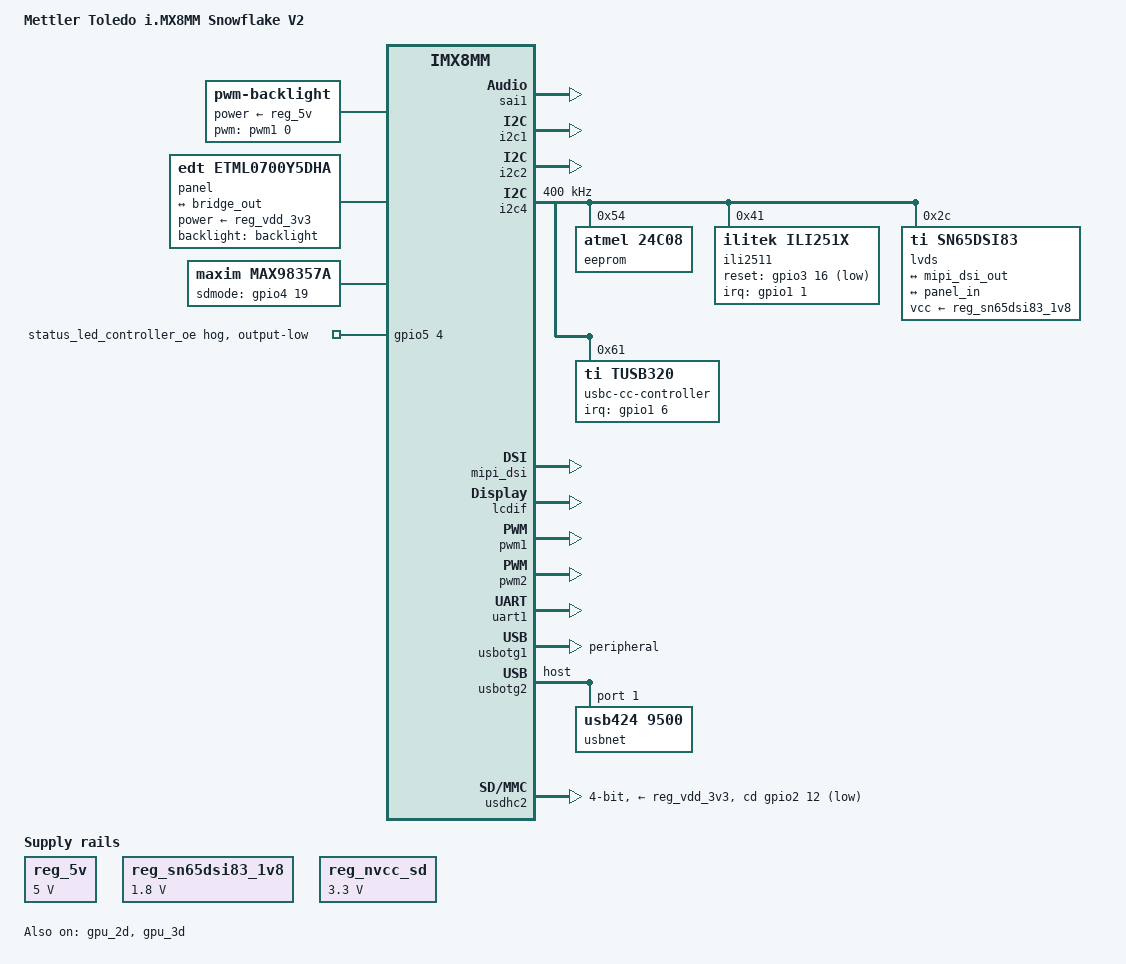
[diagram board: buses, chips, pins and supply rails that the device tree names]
// SPDX-License-Identifier: GPL-2.0
/*
 * Copyright (C) 2023 Mettler-Toledo GmbH
 */

/dts-v1/;

#include "imx8mm-kontron-sl.dtsi"

/ {
	model = "Mettler Toledo i.MX8MM Snowflake V2";
	compatible = "mt,imx8mm-snowflake-v2", "kontron,imx8mm-sl",
		     "fsl,imx8mm";

	chosen {
		stdout-path = &uart3;
	};

	aliases {
		ethernet1 = &usbnet;
	};

	backlight: backlight {
		compatible = "pwm-backlight";
		pwms = <&pwm1 0 500000 0>;
		power-supply = <&reg_5v>;
		brightness-levels = <0 100>;
		num-interpolated-steps = <100>;
		default-brightness-level = <100>;
		status = "okay";
	};

	panel {
		compatible = "edt,etml0700y5dha";
		backlight = <&backlight>;
		power-supply = <&reg_vdd_3v3>;

		port {
			panel_in: endpoint {
				remote-endpoint = <&bridge_out>;
			};
		};
	};

	max98357a: audio-codec {
		compatible = "maxim,max98357a";
		sdmode-gpios = <&gpio4 19 GPIO_ACTIVE_HIGH>;
		#sound-dai-cells = <0>;
		status = "okay";
	};

	reg_5v: regulator-5v {
		compatible = "regulator-fixed";
		regulator-name = "fixed-5V";
		regulator-min-microvolt = <5000000>;
		regulator-max-microvolt = <5000000>;
	};

	reg_sn65dsi83_1v8: regulator-sn65dsi83-1v8 {
		compatible = "regulator-fixed";
		regulator-name = "SN65DSI83_1V8";
		regulator-min-microvolt = <1800000>;
		regulator-max-microvolt = <1800000>;
	};

	sound-max98357a {
		compatible = "simple-audio-card";
		simple-audio-card,name = "max98357a-audio";

		simple-audio-card,format = "i2s";
		simple-audio-card,frame-master = <&cpudai>;
		simple-audio-card,bitclock-master = <&cpudai>;
		simple-audio-card,widgets =
			"Speaker", "Speakers";
		simple-audio-card,routing =
			"Speakers", "Speaker";
		status = "okay";

		cpudai: simple-audio-card,cpu {
			sound-dai = <&sai1>;
			dai-tdm-slot-num = <2>;
			dai-tdm-slot-width = <32>;
		};

		simple-audio-card,codec {
			sound-dai = <&max98357a>;
			clocks = <&clk IMX8MM_CLK_SAI1_ROOT>;
		};
	};
};

&sai1 {
	#sound-dai-cells = <0>;
	pinctrl-names = "default";
	pinctrl-0 = <&pinctrl_sai1>;
	assigned-clocks = <&clk IMX8MM_CLK_SAI1>;
	assigned-clock-parents = <&clk IMX8MM_AUDIO_PLL1_OUT>;
	assigned-clock-rates = <24576000>;
	fsl,sai-mclk-direction-output;
	status = "okay";
};

&i2c1 {
	bootph-all;
	status = "okay";
};

&i2c2 {
	bootph-all;
	status = "okay";
};

&i2c4 {
	clock-frequency = <400000>;
	pinctrl-names = "default";
	pinctrl-0 = <&pinctrl_i2c4>;
	status = "okay";

	eeprom: eeprom@54 {
		compatible = "atmel,24c08";
		reg = <0x54>;
		pagesize = <16>;
	};

	ili2511: ili2511@41 {
		compatible = "ilitek,ili251x";
		reg = <0x41>;
		pinctrl-names = "default";
		pinctrl-0 = <&pinctrl_touch>;
		interrupt-parent = <&gpio1>;
		interrupts = <1 IRQ_TYPE_EDGE_FALLING>;
		reset-gpios = <&gpio3 16 GPIO_ACTIVE_LOW>;
	};

	lvds: lvds@2c {
		compatible = "ti,sn65dsi83";
		reg = <0x2c>;
		vcc-supply = <&reg_sn65dsi83_1v8>;
		pinctrl-names = "default";
		pinctrl-0 = <&pinctrl_sn65dsi83>;
		status = "okay";
		ports {
			#address-cells = <1>;
			#size-cells = <0>;

			port@0 {
				reg = <0>;
				bridge_in: endpoint {
					remote-endpoint = <&mipi_dsi_out>;
					data-lanes = <1 2>;
				};
			};

			port@2 {
				reg = <2>;
				bridge_out: endpoint {
					remote-endpoint = <&panel_in>;
					data-lanes = <4 3 2 1>;
				};
			};
		};
	};

	usbc-cc-controller@61 {
		compatible = "ti,tusb320";
		reg = <0x61>;
		pinctrl-names = "default";
		pinctrl-0 = <&pinctrl_usbc_controller>;
		interrupts-extended = <&gpio1 6 IRQ_TYPE_LEVEL_LOW>;
	};
};

&mipi_dsi {
	status = "okay";
	vddio-supply = <&reg_sn65dsi83_1v8>;
	assigned-clocks = <&clk IMX8MM_CLK_DSI_CORE>,
			  <&clk IMX8MM_VIDEO_PLL1_OUT>,
			  <&clk IMX8MM_CLK_DSI_PHY_REF>;
	assigned-clock-parents = <&clk IMX8MM_SYS_PLL1_266M>,
			  <&clk IMX8MM_VIDEO_PLL1_BYPASS>,
			  <&clk IMX8MM_CLK_24M>;
	assigned-clock-rates = <266000000>, <594000000>, <12000000>;
	samsung,pll-clock-frequency = <12000000>;
	samsung,burst-clock-frequency = <891000000>;
	samsung,esc-clock-frequency = <54000000>;
};

&mipi_dsi_out {
	remote-endpoint = <&bridge_in>;
};

&lcdif {
	status = "okay";
};

&gpu_2d {
	status = "okay";
};

&gpu_3d {
	status = "okay";
};

&ecspi1 {
	status = "disabled";
};

&gpio1 {
	bootph-pre-ram;
};

&gpio2 {
	bootph-pre-ram;
};

&gpio3 {
	bootph-pre-ram;
};

&gpio4 {
	bootph-pre-ram;
};

&gpio5 {
	bootph-pre-ram;
	status_led_controller_oe: status-led-controller-hog {
		gpio-hog;
		gpios = <4 GPIO_ACTIVE_HIGH>;
		output-low;
		pinctrl-names = "default";
		pinctrl-0 = <&pinctrl_hog_status_led_controller>;
	};
};

&pca9450 {
	bootph-pre-ram;
};

&{/soc@0/bus@30800000/i2c@30a20000/pmic@25/regulators} {
	bootph-pre-ram;
};

&iomuxc {
	pinctrl-0 = <&pinctrl_hog>;
	pinctrl-names = "default";

	pinctrl_hog: hoggrp {
		fsl,pins = <
			MX8MM_IOMUXC_GPIO1_IO03_GPIO1_IO3		0x19 /* \SOM_RTC_INT */
			MX8MM_IOMUXC_GPIO1_IO09_GPIO1_IO9		0x184 /* SOM_DIS_ID0 */
			MX8MM_IOMUXC_GPIO1_IO10_GPIO1_IO10		0x184 /* SOM_DIS_ID1 */
			MX8MM_IOMUXC_GPIO1_IO11_GPIO1_IO11		0x184 /* SOM_DIS_ID2 */
			MX8MM_IOMUXC_SAI2_TXC_GPIO4_IO25		0x19 /* SOM_PCB_ID0 */
			MX8MM_IOMUXC_SAI2_TXD0_GPIO4_IO26		0x19 /* SOM_PCB_ID1 */
			MX8MM_IOMUXC_SAI2_MCLK_GPIO4_IO27		0x19 /* SOM_PCBA_ID0 */
			MX8MM_IOMUXC_SAI3_RXFS_GPIO4_IO28		0x19 /* SOM_PCBA_ID1 */
			MX8MM_IOMUXC_SAI5_RXFS_GPIO3_IO19		0x19 /* \SOM_STATLED_RES */
			MX8MM_IOMUXC_SAI5_RXC_GPIO3_IO20		0x19 /* \SOM_HUB_RES */
			MX8MM_IOMUXC_SAI5_RXD0_GPIO3_IO21		0x19 /* \SOM_SUPPLY_EN */
			MX8MM_IOMUXC_SAI5_RXD1_GPIO3_IO22		0x1c4 /* \SOM_COM_RES */
			MX8MM_IOMUXC_SAI5_RXD2_GPIO3_IO23		0x184 /* SOM_DBG_GPIO0 */
			MX8MM_IOMUXC_SAI5_RXD3_GPIO3_IO24		0x184 /* SOM_DBG_GPIO1 */
			MX8MM_IOMUXC_SAI5_MCLK_GPIO3_IO25		0x184 /* SOM_DBG_GPIO2 */
			MX8MM_IOMUXC_SAI3_TXD_GPIO5_IO1			0x184 /* SOM_DBG_GPIO3 */
			MX8MM_IOMUXC_SAI1_TXD7_GPIO4_IO19		0x184 /* SOM_AUDIO_SD */
		>;
	};

	pinctrl_i2c4: i2c4grp {
		fsl,pins = <
			MX8MM_IOMUXC_I2C4_SCL_I2C4_SCL			0x400001c3
			MX8MM_IOMUXC_I2C4_SDA_I2C4_SDA			0x400001c3
		>;
	};

	pinctrl_pwm1: pwm1grp {
		fsl,pins = <
			MX8MM_IOMUXC_SPDIF_EXT_CLK_PWM1_OUT		0x6
		>;
	};

	pinctrl_pwm2: pwm2grp {
		fsl,pins = <
			MX8MM_IOMUXC_SPDIF_RX_PWM2_OUT			0x6
		>;
	};

	pinctrl_pwm3: pwm3grp {
		fsl,pins = <
			MX8MM_IOMUXC_SPDIF_TX_PWM3_OUT			0x6
		>;
	};

	pinctrl_sai1: sai1grp {
		fsl,pins = <
			MX8MM_IOMUXC_SAI1_TXFS_SAI1_TX_SYNC		0xd6
			MX8MM_IOMUXC_SAI1_TXC_SAI1_TX_BCLK		0xd6
			MX8MM_IOMUXC_SAI1_TXD0_SAI1_TX_DATA0		0xd6
		>;
	};

	pinctrl_sn65dsi83: sn65dsi83grp {
		fsl,pins = <
			MX8MM_IOMUXC_GPIO1_IO05_GPIO1_IO5		0x19 /* \SOM_DSI_INT */
		>;
	};

	pinctrl_hog_status_led_controller: statusledcontrollergrp {
		fsl,pins = <
			MX8MM_IOMUXC_SPDIF_RX_GPIO5_IO4			0x19
		>;
	};

	pinctrl_touch: touchgrp {
		fsl,pins = <
			MX8MM_IOMUXC_GPIO1_IO01_GPIO1_IO1		0x19 /* \SOM_TOUCH_RES */
			MX8MM_IOMUXC_NAND_READY_B_GPIO3_IO16		0x19 /* \SOM_TOUCH_INT */
		>;
	};

	pinctrl_uart1: uart1grp {
		bootph-pre-ram;
		fsl,pins = <
			MX8MM_IOMUXC_SAI2_RXC_UART1_DCE_RX		0x140
			MX8MM_IOMUXC_SAI2_RXFS_UART1_DCE_TX		0x140
			MX8MM_IOMUXC_SAI2_RXD0_UART1_DCE_RTS_B		0x140
			MX8MM_IOMUXC_SAI2_TXFS_UART1_DCE_CTS_B		0x140
		>;
	};

	pinctrl_usbc_controller: usbccontrollergrp {
		fsl,pins = <
			MX8MM_IOMUXC_GPIO1_IO06_GPIO1_IO6		0x19 /* \SOM_USBC_INT */
		>;
	};

	pinctrl_usdhc2: usdhc2grp {
		bootph-pre-ram;
		fsl,pins = <
			MX8MM_IOMUXC_SD2_CLK_USDHC2_CLK			0x190
			MX8MM_IOMUXC_SD2_CMD_USDHC2_CMD			0x1d0
			MX8MM_IOMUXC_SD2_DATA0_USDHC2_DATA0		0x1d0
			MX8MM_IOMUXC_SD2_DATA1_USDHC2_DATA1		0x1d0
			MX8MM_IOMUXC_SD2_DATA2_USDHC2_DATA2		0x1d0
			MX8MM_IOMUXC_SD2_DATA3_USDHC2_DATA3		0x1d0
			MX8MM_IOMUXC_SD2_CD_B_GPIO2_IO12		0x41
		>;
	};

	pinctrl_usdhc2_100mhz: usdhc2-100mhzgrp {
		bootph-pre-ram;
		fsl,pins = <
			MX8MM_IOMUXC_SD2_CLK_USDHC2_CLK			0x194
			MX8MM_IOMUXC_SD2_CMD_USDHC2_CMD			0x1d4
			MX8MM_IOMUXC_SD2_DATA0_USDHC2_DATA0		0x1d4
			MX8MM_IOMUXC_SD2_DATA1_USDHC2_DATA1		0x1d4
			MX8MM_IOMUXC_SD2_DATA2_USDHC2_DATA2		0x1d4
			MX8MM_IOMUXC_SD2_DATA3_USDHC2_DATA3		0x1d4
			MX8MM_IOMUXC_SD2_CD_B_GPIO2_IO12		0x41
		>;
	};

	pinctrl_usdhc2_200mhz: usdhc2-200mhzgrp {
		bootph-pre-ram;
		fsl,pins = <
			MX8MM_IOMUXC_SD2_CLK_USDHC2_CLK			0x196
			MX8MM_IOMUXC_SD2_CMD_USDHC2_CMD			0x1d6
			MX8MM_IOMUXC_SD2_DATA0_USDHC2_DATA0		0x1d6
			MX8MM_IOMUXC_SD2_DATA1_USDHC2_DATA1		0x1d6
			MX8MM_IOMUXC_SD2_DATA2_USDHC2_DATA2		0x1d6
			MX8MM_IOMUXC_SD2_DATA3_USDHC2_DATA3		0x1d6
			MX8MM_IOMUXC_SD2_CD_B_GPIO2_IO12		0x41
		>;
	};
};

&pinctrl_ecspi1 {
	bootph-pre-ram;
};

&pinctrl_i2c1 {
	bootph-pre-ram;
};

&pinctrl_pmic {
	bootph-pre-ram;
};

&pinctrl_uart3 {
	bootph-all;
};

&pinctrl_usdhc1 {
	bootph-pre-ram;
};

&pinctrl_usdhc1_100mhz {
	bootph-pre-ram;
};

&pinctrl_usdhc1_200mhz {
	bootph-pre-ram;
};

&pinctrl_wdog {
	bootph-pre-ram;
};

&pwm1 {
	pinctrl-0 = <&pinctrl_pwm1>;
	pinctrl-names = "default";
	status = "okay";
};

&pwm2 {
	pinctrl-0 = <&pinctrl_pwm2>;
	pinctrl-names = "default";
	status = "okay";
};

&reg_nvcc_sd {
	regulator-always-on;
	regulator-boot-on;
	regulator-min-microvolt = <3300000>;
};

&uart1 {
	bootph-all;
	pinctrl-0 = <&pinctrl_uart1>;
	pinctrl-names = "default";
	uart-has-rtscts;
	status = "okay";
};

&uart3 {
	bootph-all;
};

&usbotg1 {
	bootph-pre-ram;
	dr_mode = "peripheral";
	status = "okay";
};

&usbotg2 {
	#address-cells = <1>;
	#size-cells = <0>;
	disable-over-current;
	dr_mode = "host";
	status = "okay";

	usb1@1 {
		reg = <1>;
		#address-cells = <1>;
		#size-cells = <0>;

		usbnet: ethernet@1 {
			compatible = "usb424,9500";
			reg = <1>;
			mac-address = [ 00 00 00 00 00 00 ];
		};
	};
};

&usdhc1 {
	bootph-pre-ram;
};

&usdhc2 {
	bootph-pre-ram;
	bus-width = <4>;
	cd-gpios = <&gpio2 12 GPIO_ACTIVE_LOW>;
	no-1-8-v;
	pinctrl-0 = <&pinctrl_usdhc2>;
	pinctrl-1 = <&pinctrl_usdhc2_100mhz>;
	pinctrl-2 = <&pinctrl_usdhc2_200mhz>;
	pinctrl-names = "default", "state_100mhz", "state_200mhz";
	vmmc-supply = <&reg_vdd_3v3>;
	status = "okay";
};

&wdog1 {
	bootph-pre-ram;
};
